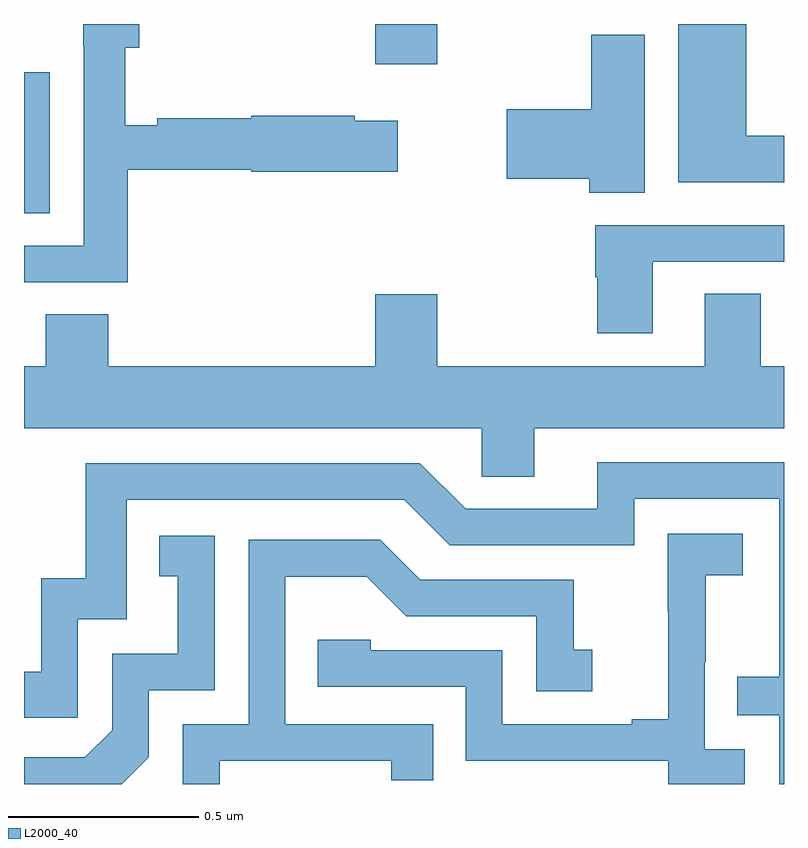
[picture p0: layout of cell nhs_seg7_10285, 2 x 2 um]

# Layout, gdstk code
import gdstk
lib = gdstk.Library(unit=1e-6, precision=1e-09)
def R(c, l, rs):  # rectangles x0, y0, x1, y1
    for r in rs: c.add(gdstk.rectangle(r[:2], r[2:], *l))
def P(c, l, *ps):  # polygons
    for p in ps: c.add(gdstk.Polygon(p, *l))
L2000_40 = (2000, 40)

nhs_seg7_10285 = lib.new_cell('nhs_seg7_10285')
R(nhs_seg7_10285, L2000_40, [(248,1014.502,248.068,1014.873), (248.924,1014.894,249.088,1015)])
P(nhs_seg7_10285, L2000_40, [(248.273,1014.616),(248.598,1014.616),(248.598,1014.611),(248.983,1014.611),(248.983,1014.745),(248.87,1014.745),(248.87,1014.758),(248.598,1014.758),(248.598,1014.752),(248.35,1014.752),(248.35,1014.734),(248.266,1014.734),(248.266,1014.938),(248.303,1014.938),(248.303,1015),(248.156,1015),(248.156,1014.942),(248.157,1014.942),(248.157,1014.417),(248,1014.417),(248,1014.321),(248.273,1014.321)],
  [(250,1014.706),(249.901,1014.706),(249.901,1015),(249.722,1015),(249.722,1014.584),(250,1014.584)],
  [(249.634,1014.972),(249.493,1014.972),(249.493,1014.776),(249.27,1014.776),(249.27,1014.593),(249.488,1014.593),(249.488,1014.556),(249.634,1014.556)],
  [(249.655,1014.375),(250,1014.375),(250,1014.471),(249.503,1014.471),(249.503,1014.333),(249.508,1014.333),(249.508,1014.186),(249.655,1014.186)],
  [(249.343,1013.936),(250,1013.936),(250,1014.1),(249.939,1014.1),(249.939,1014.29),(249.791,1014.29),(249.791,1014.1),(249.088,1014.1),(249.088,1014.289),(248.924,1014.289),(248.924,1014.1),(248.222,1014.1),(248.222,1014.236),(248.057,1014.236),(248.057,1014.1),(248,1014.1),(248,1013.936),(249.204,1013.936),(249.204,1013.809),(249.343,1013.809)],
  [(250,1013.847),(249.509,1013.847),(249.509,1013.724),(249.162,1013.724),(249.042,1013.844),(248.163,1013.844),(248.163,1013.542),(248.045,1013.542),(248.045,1013.295),(248,1013.295),(248,1013.175),(248.142,1013.175),(248.142,1013.433),(248.271,1013.433),(248.271,1013.748),(249,1013.748),(249.12,1013.628),(249.606,1013.628),(249.606,1013.751),(249.987,1013.751),(249.987,1013.282),(249.877,1013.282),(249.877,1013.181),(249.987,1013.181),(249.987,1013),(250,1013)],
  [(249.897,1013.091),(249.792,1013.091),(249.792,1013.321),(249.794,1013.321),(249.794,1013.549),(249.892,1013.549),(249.892,1013.659),(249.694,1013.659),(249.694,1013.453),(249.695,1013.453),(249.695,1013.17),(249.599,1013.17),(249.599,1013.157),(249.258,1013.157),(249.258,1013.352),(248.913,1013.352),(248.913,1013.379),(248.773,1013.379),(248.773,1013.256),(249.162,1013.256),(249.162,1013.061),(249.696,1013.061),(249.696,1013),(249.897,1013)],
  [(248.328,1013.07),(248.328,1013.247),(248.502,1013.247),(248.502,1013.653),(248.356,1013.653),(248.356,1013.547),(248.405,1013.547),(248.405,1013.343),(248.232,1013.343),(248.232,1013.142),(248.16,1013.07),(248,1013.07),(248,1013),(248.257,1013)],
  [(248.515,1013.061),(248.966,1013.061),(248.966,1013.01),(249.077,1013.01),(249.077,1013.157),(248.688,1013.157),(248.688,1013.546),(248.902,1013.546),(249.006,1013.442),(249.348,1013.442),(249.348,1013.244),(249.496,1013.244),(249.496,1013.353),(249.447,1013.353),(249.447,1013.538),(249.043,1013.538),(248.938,1013.643),(248.592,1013.643),(248.592,1013.157),(248.418,1013.157),(248.418,1013),(248.515,1013)])

lib.write_gds('nhs_seg7_10285.gds')
